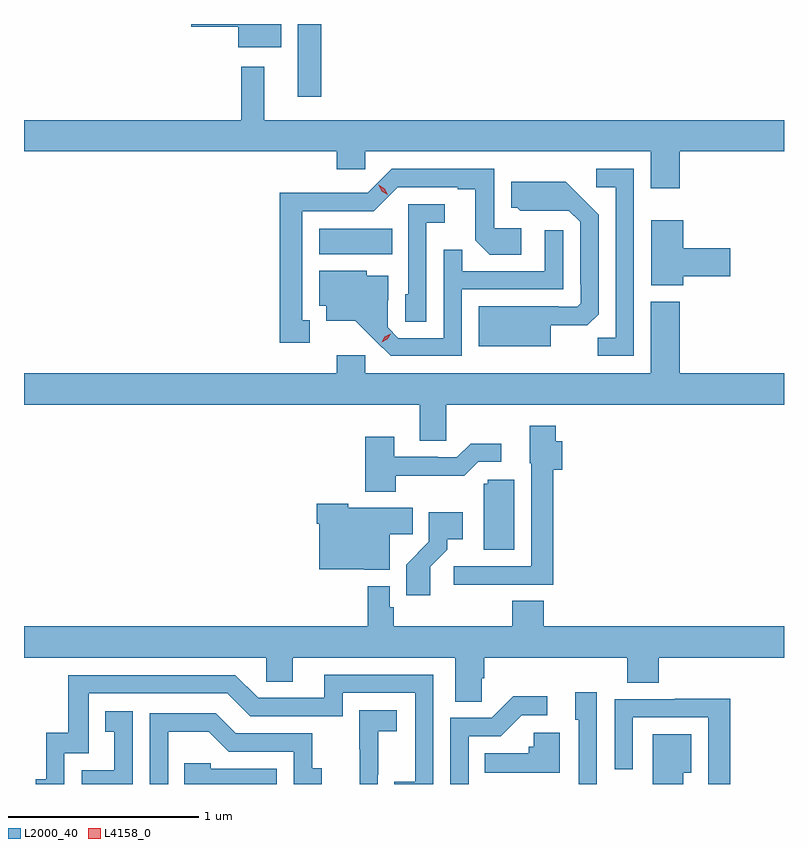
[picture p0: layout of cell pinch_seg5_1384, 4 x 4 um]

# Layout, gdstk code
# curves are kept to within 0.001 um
import gdstk
lib = gdstk.Library(unit=1e-6, precision=1e-09)
def R(c, l, rs):  # rectangles x0, y0, x1, y1
    for r in rs: c.add(gdstk.rectangle(r[:2], r[2:], *l))
def P(c, l, *ps):  # polygons
    for p in ps: c.add(gdstk.Polygon(p, *l))
L2000_40 = (2000, 40)
L4158_0 = (4158, 0)

pinch_seg5_1384 = lib.new_cell('pinch_seg5_1384')
R(pinch_seg5_1384, L2000_40, [(161.57,904.172,161.954,904.306), (161.459,905.001,161.581,905.383)])
P(pinch_seg5_1384, L2000_40, [(161.371,905.383),(160.896,905.383),(160.896,905.368),(161.144,905.368),(161.144,905.261),(161.371,905.261)],
  [(163.469,904.712),(164.017,904.712),(164.017,904.876),(161.281,904.876),(161.281,905.158),(161.16,905.158),(161.16,904.876),(160.017,904.876),(160.017,904.712),(161.663,904.712),(161.663,904.619),(161.814,904.619),(161.814,904.712),(163.316,904.712),(163.316,904.518),(163.469,904.518)],
  [(163.227,904.62),(163.029,904.62),(163.029,904.524),(163.131,904.524),(163.131,903.731),(163.036,903.731),(163.036,903.636),(163.227,903.636)],
  [(161.521,903.825),(161.482,903.825),(161.482,904.398),(161.859,904.398),(161.985,904.524),(162.299,904.524),(162.299,904.512),(162.393,904.512),(162.393,904.244),(162.469,904.168),(162.634,904.168),(162.634,904.308),(162.492,904.308),(162.492,904.62),(161.952,904.62),(161.826,904.494),(161.604,904.494),(161.604,904.496),(161.364,904.496),(161.364,903.705),(161.521,903.705)],
  [(162.79,903.797),(162.982,903.797),(163.041,903.856),(163.041,904.378),(162.869,904.552),(162.581,904.552),(162.581,904.416),(162.612,904.416),(162.628,904.4),(162.885,904.401),(162.945,904.341),(162.945,904.012),(162.948,904.012),(162.948,903.912),(162.93,903.894),(162.83,903.894),(162.83,903.898),(162.41,903.898),(162.41,903.686),(162.79,903.686)],
  [(162.135,904.337),(162.232,904.337),(162.232,904.434),(162.039,904.434),(162.039,903.96),(162.024,903.96),(162.024,903.817),(162.135,903.817)],
  [(163.486,904.055),(163.735,904.055),(163.735,904.202),(163.486,904.202),(163.486,904.351),(163.319,904.351),(163.319,904.007),(163.486,904.007)],
  [(162.321,903.987),(162.855,903.987),(162.855,904.297),(162.759,904.297),(162.759,904.083),(162.323,904.083),(162.323,904.196),(162.225,904.196),(162.225,903.729),(161.988,903.729),(161.931,903.786),(161.931,903.928),(161.935,903.928),(161.935,904.057),(161.82,904.057),(161.82,904.084),(161.57,904.084),(161.57,903.9),(161.609,903.9),(161.609,903.821),(161.761,903.821),(161.948,903.636),(162.321,903.636)],
  [(162.24,903.38),(164.017,903.38),(164.017,903.544),(163.469,903.544),(163.469,903.922),(163.316,903.922),(163.316,903.544),(161.814,903.544),(161.814,903.64),(161.663,903.64),(161.663,903.544),(160.017,903.544),(160.017,903.38),(162.101,903.38),(162.101,903.19),(162.24,903.19)],
  [(162.503,902.433),(162.803,902.433),(162.803,903.038),(162.851,903.038),(162.851,903.186),(162.816,903.186),(162.816,903.268),(162.68,903.268),(162.68,903.072),(162.687,903.072),(162.687,902.529),(162.279,902.529),(162.279,902.431),(162.503,902.431)],
  [(161.973,903.006),(162.335,903.005),(162.408,903.078),(162.529,903.078),(162.529,903.175),(162.367,903.175),(162.294,903.102),(162.194,903.102),(162.194,903.105),(161.965,903.105),(161.965,903.211),(161.813,903.211),(161.813,902.921),(161.973,902.921)],
  [(162.598,902.985),(162.459,902.985),(162.459,902.964),(162.437,902.964),(162.437,902.616),(162.598,902.616)],
  [(161.941,902.698),(162.062,902.698),(162.062,902.836),(161.724,902.836),(161.724,902.857),(161.558,902.857),(161.558,902.753),(161.57,902.753),(161.57,902.513),(161.808,902.513),(161.808,902.51),(161.941,902.51)],
  [(162.154,902.527),(162.244,902.617),(162.244,902.672),(162.325,902.672),(162.325,902.812),(162.147,902.812),(162.147,902.657),(162.028,902.538),(162.028,902.376),(162.154,902.376)],
  [(162.426,901.939),(162.44,901.939),(162.44,902.048),(163.193,902.048),(163.193,901.915),(163.358,901.915),(163.358,902.048),(164.017,902.048),(164.017,902.212),(162.752,902.212),(162.752,902.348),(162.587,902.348),(162.587,902.212),(161.963,902.212),(161.963,902.313),(161.943,902.313),(161.943,902.425),(161.827,902.425),(161.827,902.212),(160.017,902.212),(160.017,902.048),(161.292,902.048),(161.292,901.921),(161.431,901.921),(161.431,902.048),(162.287,902.048),(162.287,901.816),(162.426,901.816)],
  [(160.23,901.545),(160.359,901.545),(160.359,901.86),(161.088,901.86),(161.208,901.74),(161.694,901.74),(161.694,901.863),(162.075,901.863),(162.075,901.394),(161.965,901.394),(161.965,901.383),(162.171,901.383),(162.171,901.959),(161.597,901.959),(161.597,901.836),(161.25,901.836),(161.13,901.956),(160.251,901.956),(160.251,901.654),(160.133,901.654),(160.133,901.407),(160.08,901.407),(160.08,901.383),(160.23,901.383)],
  [(163.032,901.867),(162.917,901.867),(162.917,901.722),(162.936,901.722),(162.936,901.383),(163.032,901.383)],
  [(162.357,901.635),(162.526,901.635),(162.637,901.746),(162.772,901.746),(162.772,901.844),(162.593,901.844),(162.48,901.731),(162.261,901.731),(162.261,901.383),(162.357,901.383)],
  [(163.733,901.832),(163.441,901.832),(163.441,901.83),(163.125,901.83),(163.125,901.461),(163.221,901.461),(163.221,901.734),(163.617,901.734),(163.617,901.383),(163.733,901.383)],
  [(161.88,901.433),(161.882,901.433),(161.882,901.661),(161.98,901.661),(161.98,901.771),(161.782,901.771),(161.782,901.565),(161.783,901.565),(161.783,901.383),(161.88,901.383)],
  [(160.59,901.765),(160.444,901.765),(160.444,901.659),(160.493,901.659),(160.493,901.455),(160.32,901.455),(160.32,901.383),(160.59,901.383)],
  [(160.776,901.658),(160.99,901.658),(161.094,901.554),(161.436,901.554),(161.436,901.383),(161.584,901.383),(161.584,901.465),(161.535,901.465),(161.535,901.65),(161.131,901.65),(161.026,901.755),(160.68,901.755),(160.68,901.383),(160.776,901.383)],
  [(162.838,901.654),(162.699,901.654),(162.699,901.578),(162.673,901.578),(162.673,901.546),(162.442,901.546),(162.442,901.442),(162.838,901.442)],
  [(163.486,901.442),(163.528,901.442),(163.528,901.645),(163.325,901.645),(163.325,901.383),(163.486,901.383)],
  [(161.346,901.464),(161.001,901.464),(161.001,901.491),(160.861,901.491),(160.861,901.383),(161.346,901.383)])
P(pinch_seg5_1384, L4158_0, [(161.899,903.708),(161.899,903.708),(161.916,903.738),(161.946,903.754),(161.947,903.754),(161.947,903.754),(161.93,903.724),(161.899,903.708)],
  [(161.932,904.484),(161.9,904.503),(161.883,904.536),(161.883,904.536),(161.883,904.536),(161.915,904.517),(161.932,904.485),(161.932,904.484)])

lib.write_gds('pinch_seg5_1384.gds')
